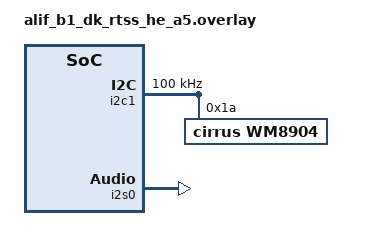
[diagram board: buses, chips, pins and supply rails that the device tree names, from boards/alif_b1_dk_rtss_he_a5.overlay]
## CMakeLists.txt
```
# Copyright Alif Semiconductor - All Rights Reserved.
# Use, distribution and modification of this code is permitted under the
# terms stated in the Alif Semiconductor Software License Agreement
#
# You should have received a copy of the Alif Semiconductor Software
# License Agreement with this file. If not, please write to:
# contact@alifsemi.com, or visit: https://alifsemi.com/license

cmake_minimum_required(VERSION 3.20.0)
find_package(Zephyr REQUIRED HINTS $ENV{ZEPHYR_BASE})
project(le_audio_broadcast_sink)

target_sources(app PRIVATE
    src/main.c
    src/broadcast_sink.c
    src/broadcast_source.c
    src/audio_datapath.c
    src/mode_switch_service.c
)
```

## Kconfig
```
# Copyright Alif Semiconductor - All Rights Reserved.
# Use, distribution and modification of this code is permitted under the
# terms stated in the Alif Semiconductor Software License Agreement
#
# You should have received a copy of the Alif Semiconductor Software
# License Agreement with this file. If not, please write to:
# contact@alifsemi.com, or visit: https://alifsemi.com/license

menu "Alif Bluetooth LE Audio Broadcast Sink/Source"

config BLE_DEVICE_NAME
	string "BLE device name for GATT service"
	default "ALIF_MODE_SWITCH"
	help
	  Device name for the connectable GATT service (mode switching)

config BROADCAST_NAME
	string "LE audio broadcast name"
	default "ALIF_SOURCE"
	help
	  Broadcast name to connect to (sink) or advertise as (source)

config LE_AUDIO_PRESENTATION_DELAY_MS
	int "Presentation delay in ms"
	default 40
	range 0 1000
	help
	  LE audio presentation delay in ms. For the audio source use-case, this is defined as the
	  time in ms from the start of recording an audio frame, to the SDU reference anchor point
	  at which the SDU containing the same audio frame is sent over BLE.

config APP_PRINT_STATS
	bool "Print application statistics"
	default n
	help
	  Enable printing of application statistics and debug information

config APP_PRINT_STATS_INTERVAL
	int "Statistics printing interval"
	default 1024
	depends on APP_PRINT_STATS
	help
	  Interval for printing statistics (every N frames)

choice
	prompt "Choose way to determine left/right audio channels"
	default AUDIO_LOCATION_USE_GAF

	config AUDIO_LOCATION_USE_GAF
		bool "Use GAF audio location sent by audio source"
	config AUDIO_LOCATION_IMPLICIT
		bool "Assume left channel is first stream, and right channel is second"

endchoice

menu "Logging"

module = MAIN
module-str = main
source "subsys/logging/Kconfig.template.log_config"

module = BROADCAST_SINK
module-str = broadcast_sink
source "subsys/logging/Kconfig.template.log_config"

module = MODE_SWITCH_SERVICE
module-str = mode_switch_service
source "subsys/logging/Kconfig.template.log_config"

module = BROADCAST_SOURCE
module-str = broadcast_source
source "subsys/logging/Kconfig.template.log_config"

endmenu # "Logging"

endmenu # "Alif Bluetooth LE Audio Broadcast Sink/Source"

source "Kconfig.zephyr"
```

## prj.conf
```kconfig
# Copyright Alif Semiconductor - All Rights Reserved.
# Use, distribution and modification of this code is permitted under the
# terms stated in the Alif Semiconductor Software License Agreement
#
# You should have received a copy of the Alif Semiconductor Software
# License Agreement with this file. If not, please write to:
# contact@alifsemi.com, or visit: https://alifsemi.com/license

CONFIG_BT=y
CONFIG_BT_CUSTOM=y
CONFIG_ALIF_ROM_LC3_CODEC=y
CONFIG_ALIF_BLE_AUDIO=y

# Device names
CONFIG_BLE_DEVICE_NAME="ALIF_MODE_SWITCH"
CONFIG_BROADCAST_NAME="ALIF_SOURCE"

CONFIG_LOG=y

CONFIG_PRESENTATION_COMPENSATION_DIRECTION_SINK=y
CONFIG_PRESENTATION_COMPENSATION_DIRECTION_SOURCE=y
CONFIG_PRESENTATION_COMPENSATION_CORRECTION_FACTOR=2

CONFIG_AUDIO=y
CONFIG_AUDIO_CODEC=y
CONFIG_AUDIO_CODEC_SHELL=y
CONFIG_SHELL=y

# This is specific to whichever clock you use. Currently presentation layer is
# commented out so this does nothing
CONFIG_AUDIO_CLOCK_DIVIDER=1

# Should be replaced by TRNG when support is available
CONFIG_TEST_RANDOM_GENERATOR=y

# malloc support is required, simplest way is using newlib although it would also be possible to
# configure heap for picolibc
CONFIG_NEWLIB_LIBC=y

# Driver support for audio
CONFIG_I2S=y
CONFIG_I2S_SYNC_BUFFER_FORMAT_SEQUENTIAL=n
CONFIG_DMA=y

# Determine left and right channels by index, not GAF
CONFIG_AUDIO_LOCATION_IMPLICIT=y

# Audio codec is WM8904, connected via I2C.
CONFIG_I2C=y
CONFIG_WM8904=y
CONFIG_I2C_INIT_PRIORITY=50
CONFIG_WM8904_INIT_PRIORITY=99

# For MRAM(XIP) builds with LLVM exception tables cause linker errors as part of the code is placed to TCM
CONFIG_EXCEPTIONS=n
```

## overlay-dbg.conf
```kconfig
# Copyright Alif Semiconductor - All Rights Reserved.
# Use, distribution and modification of this code is permitted under the
# terms stated in the Alif Semiconductor Software License Agreement
#
# You should have received a copy of the Alif Semiconductor Software
# License Agreement with this file. If not, please write to:
# contact@alifsemi.com, or visit: https://alifsemi.com/license

CONFIG_NO_OPTIMIZATIONS=y

# Debug
CONFIG_LOG=y
CONFIG_USE_SEGGER_RTT=y
CONFIG_RTT_CONSOLE=y

CONFIG_MAIN_LOG_LEVEL_DBG=y
CONFIG_BROADCAST_SINK_LOG_LEVEL_DBG=y
CONFIG_BLE_AUDIO_LOG_LEVEL_DBG=y
CONFIG_PRESENTATION_COMPENSATION_PRINT_STATS=y
CONFIG_LOG_BUFFER_SIZE=4096
CONFIG_LOG_DEFAULT_LEVEL=3

## Debugging configuration
CONFIG_THREAD_NAME=y
CONFIG_THREAD_ANALYZER=y
CONFIG_THREAD_ANALYZER_AUTO=y
CONFIG_THREAD_ANALYZER_RUN_UNLOCKED=y
CONFIG_THREAD_ANALYZER_USE_PRINTK=y
#CONFIG_THREAD_ANALYZER_AUTO_STACK_SIZE=6044

## Add asserts
CONFIG_ASSERT=y
#CONFIG_ASSERT_VERBOSE=y
#CONFIG_ASSERT_NO_COND_INFO=n
#CONFIG_ASSERT_NO_MSG_INFO=n

CONFIG_STACK_SENTINEL=y

#CONFIG_LOG_MODE_IMMEDIATE=y
CONFIG_LOG_MODE_MINIMAL=y
```

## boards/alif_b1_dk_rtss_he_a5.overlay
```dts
/* Copyright Alif Semiconductor - All Rights Reserved.
 * Use, distribution and modification of this code is permitted under the
 * terms stated in the Alif Semiconductor Software License Agreement
 *
 * You should have received a copy of the Alif Semiconductor Software
 * License Agreement with this file. If not, please write to:
 * contact@alifsemi.com, or visit: https://alifsemi.com/license
 *
 */

#include <dt-bindings/pinctrl/balletto-pinctrl.h>
#include <dt-bindings/i2c/i2c.h>
#include <dt-bindings/gpio/gpio.h>

#define I2S0_IRQ_NUM  141
#define I2S0_IRQ_PRIO 3

#define I2S0_DMA_RX_CH  2
#define I2S0_DMA_RX_REQ 24
#define I2S0_DMA_TX_CH  3
#define I2S0_DMA_TX_REQ 28

#define AUDIO_DMA_ENABLED 1

/ {
	aliases {
		audio-codec = &wm8904;
		i2s-bus = &i2s0;
	};
};

&dma2 {
	status = "okay";
	dma-channels = <8>;
	interrupts = <0 3>, <1 3>, <2 3>, <3 3>, <4 3>, <5 3>,
		     <6 3>, <7 3>, <32 3>;
	interrupt-names = "channel0", "channel1",
			  "channel2", "channel3",
			  "channel4", "channel5",
			  "channel6", "channel7",
			  "abort";
};

&i2c1 {
	clock-frequency = <I2C_BITRATE_STANDARD>;
	status = "okay";

	wm8904: wm8904@1a {
		compatible = "cirrus,wm8904";
		reg = <0x1a>;
		status = "okay";
	};
};

&i2s0 {
	/delete-property/ clock-frequency;
	/delete-property/ driver_instance;
	compatible = "alif,i2s-sync";
	interrupts = <I2S0_IRQ_NUM I2S0_IRQ_PRIO>;
	bit-depth = <16>;
	sample-rate = <48000>;
	status = "okay";
#if AUDIO_DMA_ENABLED
	dmas = <&dma2 I2S0_DMA_RX_CH I2S0_DMA_RX_REQ>,
	       <&dma2 I2S0_DMA_TX_CH I2S0_DMA_TX_REQ>;
	dma-names = "rxdma", "txdma";
#endif
};

&pinctrl_i2c1 {
	group0 {
		pinmux = <PIN_P7_3__I2C1_SCL_C>,
			 <PIN_P7_2__I2C1_SDA_C>;
	};
};

&pinctrl_i2s0 {
	group0 {
		pinmux = <PIN_P2_4__I2S0_SDI_B>,
			 <PIN_P2_5__I2S0_SDO_B>,
			 <PIN_P1_7__I2S0_WS_A>,
			 <PIN_P1_6__I2S0_SCLK_A>;
	};
};

/* Disable unnecessary nodes */
&i2s1 {
	status = "disabled";
};

&i2s2 {
	status = "disabled";
};

&uart_ahi {
	status = "disabled";
};
```

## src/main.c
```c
/* Copyright Alif Semiconductor - All Rights Reserved.
 * Use, distribution and modification of this code is permitted under the
 * terms stated in the Alif Semiconductor Software License Agreement
 *
 * You should have received a copy of the Alif Semiconductor Software
 * License Agreement with this file. If not, please write to:
 * contact@alifsemi.com, or visit: https://alifsemi.com/license
 */

#include <zephyr/kernel.h>
#include <zephyr/logging/log.h>
#include <zephyr/sys/__assert.h>
#include "alif_ble.h"
#include "gapm.h"
#include "gap_le.h"
#include "gapc_le.h"
#include "gapc_sec.h"
#include "gapm_le.h"
#include "gapm_le_adv.h"
#include "co_buf.h"
#include "broadcast_sink.h"
#include "broadcast_source.h"
#include "mode_switch_service.h"

LOG_MODULE_REGISTER(main, CONFIG_MAIN_LOG_LEVEL);

/* Semaphores definition */
K_SEM_DEFINE(init_sem, 0, 1);

/* Store advertising activity index for re-starting after disconnection */
static uint8_t adv_actv_idx;

/* Connection status */
static uint8_t conn_status; /* 0 = disconnected, 1 = connected */

/* Device name - use configurable name */
#define DEVICE_NAME CONFIG_BLE_DEVICE_NAME

/**
 * Bluetooth stack configuration - Combined role: Observer + Peripheral
 */
static const gapm_config_t gapm_cfg = {
	.role = GAP_ROLE_LE_OBSERVER | GAP_ROLE_LE_PERIPHERAL,
	.pairing_mode = GAPM_PAIRING_DISABLE,
	.privacy_cfg = 0,
	.renew_dur = 1500,
	.private_identity.addr = {0, 0, 0, 0, 0, 0},
	.irk.key = {0, 0, 0, 0, 0, 0, 0, 0, 0, 0, 0, 0, 0, 0, 0, 0},
	.gap_start_hdl = 0,
	.gatt_start_hdl = 0,
	.att_cfg = 0,
	.sugg_max_tx_octets = GAP_LE_MAX_OCTETS,
	.sugg_max_tx_time = GAP_LE_MIN_TIME,
	.tx_pref_phy = GAP_PHY_ANY,
	.rx_pref_phy = GAP_PHY_ANY,
	.tx_path_comp = 0,
	.rx_path_comp = 0,
	.class_of_device = 0,  /* BT Classic only */
	.dflt_link_policy = 0, /* BT Classic only */
};

static uint16_t start_le_adv(uint8_t actv_idx)
{
	gapm_le_adv_param_t adv_params = {
		.duration = 0, /* Advertise indefinitely */
	};

	uint16_t err = gapm_le_start_adv(actv_idx, &adv_params);

	if (err) {
		LOG_ERR("Failed to start LE advertising with error %u", err);
	}

	return err;
}

/**
 * Bluetooth GAPM callbacks
 */
static void on_le_connection_req(uint8_t conidx, uint32_t metainfo, uint8_t actv_idx, uint8_t role,
				 const gap_bdaddr_t *p_peer_addr,
				 const gapc_le_con_param_t *p_con_params, uint8_t clk_accuracy)
{
	LOG_INF("Connection request on index %u", conidx);
	gapc_le_connection_cfm(conidx, 0, NULL);

	LOG_DBG("Connection parameters: interval %u, latency %u, supervision timeout %u",
		p_con_params->interval, p_con_params->latency, p_con_params->sup_to);

	LOG_HEXDUMP_DBG(p_peer_addr->addr, GAP_BD_ADDR_LEN, "Peer BD address");

	conn_status = 1;
	LOG_INF("Device connected - mode switch service available");
}

static void on_key_received(uint8_t conidx, uint32_t metainfo, const gapc_pairing_keys_t *p_keys)
{
	LOG_WRN("Unexpected key received key on conidx %u", conidx);
}

static void on_disconnection(uint8_t conidx, uint32_t metainfo, uint16_t reason)
{
	LOG_INF("Connection index %u disconnected for reason %u", conidx, reason);

	conn_status = 0;
	uint16_t err = start_le_adv(adv_actv_idx);

	if (err) {
		LOG_ERR("Error restarting advertising: %u", err);
	} else {
		LOG_DBG("Restarting advertising");
	}
}

static void on_name_get(uint8_t conidx, uint32_t metainfo, uint16_t token, uint16_t offset,
			uint16_t max_len)
{
	const size_t device_name_len = sizeof(DEVICE_NAME) - 1;
	const size_t short_len = (device_name_len > max_len ? max_len : device_name_len);

	gapc_le_get_name_cfm(conidx, token, GAP_ERR_NO_ERROR, device_name_len, short_len,
			     (const uint8_t *)DEVICE_NAME);
}

static void on_appearance_get(uint8_t conidx, uint32_t metainfo, uint16_t token)
{
	/* Send 'unknown' appearance */
	gapc_le_get_appearance_cfm(conidx, token, GAP_ERR_NO_ERROR, 0);
}

static const gapc_connection_req_cb_t gapc_con_cbs = {
	.le_connection_req = on_le_connection_req,
};

static const gapc_security_cb_t gapc_sec_cbs = {
	.key_received = on_key_received,
	/* All other callbacks in this struct are optional */
};

static const gapc_connection_info_cb_t gapc_con_inf_cbs = {
	.disconnected = on_disconnection,
	.name_get = on_name_get,
	.appearance_get = on_appearance_get,
	/* Other callbacks in this struct are optional */
};

/* All callbacks in this struct are optional */
static const gapc_le_config_cb_t gapc_le_cfg_cbs;

#if !CONFIG_ALIF_BLE_ROM_IMAGE_V1_0 /* ROM version > 1.0 */
static void on_gapm_err(uint32_t metainfo, uint8_t code)
{
	LOG_ERR("gapm error %d", code);
}

static const gapm_cb_t gapm_err_cbs = {
	.cb_hw_error = on_gapm_err,
};

static const gapm_callbacks_t gapm_cbs = {
	.p_con_req_cbs = &gapc_con_cbs,
	.p_sec_cbs = &gapc_sec_cbs,
	.p_info_cbs = &gapc_con_inf_cbs,
	.p_le_config_cbs = &gapc_le_cfg_cbs,
	.p_bt_config_cbs = NULL, /* BT classic so not required */
	.p_gapm_cbs = &gapm_err_cbs,
};
#else /* ROM version 1.0 */
static void on_gapm_err(enum co_error err)
{
	LOG_ERR("gapm error %d", err);
}

static const gapm_err_info_config_cb_t gapm_err_cbs = {
	.ctrl_hw_error = on_gapm_err,
};

static const gapm_callbacks_t gapm_cbs = {
	.p_con_req_cbs = &gapc_con_cbs,
	.p_sec_cbs = &gapc_sec_cbs,
	.p_info_cbs = &gapc_con_inf_cbs,
	.p_le_config_cbs = &gapc_le_cfg_cbs,
	.p_bt_config_cbs = NULL, /* BT classic so not required */
	.p_err_info_config_cbs = &gapm_err_cbs,
};
#endif

static uint16_t set_advertising_data(uint8_t actv_idx)
{
	const size_t device_name_len = strlen(DEVICE_NAME);
	const uint16_t adv_len = device_name_len + 2;

	co_buf_t *p_buf;
	uint16_t err = co_buf_alloc(&p_buf, 0, adv_len, 0);

	__ASSERT(err == 0, "Buffer allocation failed");

	uint8_t *p_data = co_buf_data(p_buf);

	p_data[0] = adv_len - 1;
	p_data[1] = 0x09; /* Complete local name */
	memcpy(p_data + 2, DEVICE_NAME, device_name_len);

	err = gapm_le_set_adv_data(actv_idx, p_buf);
	co_buf_release(p_buf); /* Release ownership of buffer so stack can free it when done */
	if (err) {
		LOG_ERR("Failed to set advertising data with error %u", err);
	}

	return err;
}

static uint16_t set_scan_data(uint8_t actv_idx)
{
	/* We must set scan response data, even if it is empty */
	const uint16_t scan_len = 0;

	co_buf_t *p_buf;
	uint16_t err = co_buf_alloc(&p_buf, 0, scan_len, 0);

	__ASSERT(err == 0, "Buffer allocation failed");

	err = gapm_le_set_scan_response_data(actv_idx, p_buf);
	co_buf_release(p_buf); /* Release ownership of buffer so stack can free it when done */
	if (err) {
		LOG_ERR("Failed to set scan data with error %u", err);
	}

	return err;
}

/**
 * Advertising callbacks
 */
static void on_adv_actv_stopped(uint32_t metainfo, uint8_t actv_idx, uint16_t reason)
{
	LOG_DBG("Advertising activity index %u stopped for reason %u", actv_idx, reason);
}

static void on_adv_actv_proc_cmp(uint32_t metainfo, uint8_t proc_id, uint8_t actv_idx,
				 uint16_t status)
{
	if (status) {
		LOG_ERR("Advertising activity process completed with error %u", status);
		return;
	}

	switch (proc_id) {
	case GAPM_ACTV_CREATE_LE_ADV:
		LOG_DBG("Advertising activity is created");
		adv_actv_idx = actv_idx;
		set_advertising_data(actv_idx);
		break;

	case GAPM_ACTV_SET_ADV_DATA:
		LOG_DBG("Advertising data is set");
		set_scan_data(actv_idx);
		break;

	case GAPM_ACTV_SET_SCAN_RSP_DATA:
		LOG_DBG("Scan data is set");
		start_le_adv(actv_idx);
		break;

	case GAPM_ACTV_START:
		k_sem_give(&init_sem);
		break;

	default:
		LOG_WRN("Unexpected GAPM activity complete, proc_id %u", proc_id);
		break;
	}
}

static void on_adv_created(uint32_t metainfo, uint8_t actv_idx, int8_t tx_pwr)
{
	LOG_DBG("Advertising activity created, index %u, selected tx power %d", actv_idx, tx_pwr);
}

static const gapm_le_adv_cb_actv_t le_adv_cbs = {
	.hdr.actv.stopped = on_adv_actv_stopped,
	.hdr.actv.proc_cmp = on_adv_actv_proc_cmp,
	.created = on_adv_created,
};

static uint16_t create_advertising(void)
{
	uint16_t err;

	gapm_le_adv_create_param_t adv_create_params = {
		.prop = GAPM_ADV_PROP_UNDIR_CONN_MASK,
		.disc_mode = GAPM_ADV_MODE_GEN_DISC,
#if !CONFIG_ALIF_BLE_ROM_IMAGE_V1_0 /* ROM version > 1.0 */
		.tx_pwr = 0,
#else
		.max_tx_pwr = 0,
#endif /* !CONFIG_ALIF_BLE_ROM_IMAGE_V1_0 */
		.filter_pol = GAPM_ADV_ALLOW_SCAN_ANY_CON_ANY,
		.prim_cfg = {
				.adv_intv_min = 160,
				.adv_intv_max = 800,
				.ch_map = ADV_ALL_CHNLS_EN,
				.phy = GAPM_PHY_TYPE_LE_1M,
			},
	};

	err = gapm_le_create_adv_legacy(0, GAPM_STATIC_ADDR, &adv_create_params, &le_adv_cbs);
	if (err) {
		LOG_ERR("Error %u creating advertising activity", err);
	}

	return err;
}

/* Add service to the stack */
static void server_configure(void)
{
	uint16_t err;

	/* Configure BAP BC sink modules once during initialization */
	err = broadcast_sink_configure();
	if (err) {
		LOG_ERR("Error %u configuring broadcast sink modules", err);
	} else {
		LOG_INF("BAP BC sink modules configured successfully");
	}

	/* Configure BAP BC source modules once during initialization */
	err = broadcast_source_configure();
	if (err) {
		LOG_ERR("Error %u configuring broadcast source modules", err);
	} else {
		LOG_INF("BAP BC source modules configured successfully");
	}

	/* Start the mode switch service */
	err = mode_switch_service_start();
	if (err) {
		LOG_ERR("Error %u starting mode switch service", err);
	}

	LOG_INF("Mode switch service started with BAP BC modules configured");
}

void on_gapm_process_complete(uint32_t metainfo, uint16_t status)
{
	if (status) {
		LOG_ERR("gapm process completed with error %u", status);
		return;
	}

	LOG_INF("gapm process completed successfully");

	server_configure();

	create_advertising();
}

int main(void)
{
	int ret = alif_ble_enable(NULL);

	if (ret) {
		LOG_ERR("Failed to enable bluetooth, err %d", ret);
		return ret;
	}

	LOG_INF("BLE enabled");

	uint16_t err = gapm_configure(0, &gapm_cfg, &gapm_cbs, on_gapm_process_complete);

	if (err != 0) {
		LOG_ERR("gapm_configure error %u", err);
		return -1;
	}

	k_sem_take(&init_sem, K_FOREVER);

	LOG_INF("Connect to the '%s' to access the mode switch service", DEVICE_NAME);

	for (;;) {
		k_sleep(K_SECONDS(5));
	}

	return 0;
}
```

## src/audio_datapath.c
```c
/* Copyright Alif Semiconductor - All Rights Reserved.
 * Use, distribution and modification of this code is permitted under the
 * terms stated in the Alif Semiconductor Software License Agreement
 *
 * You should have received a copy of the Alif Semiconductor Software
 * License Agreement with this file. If not, please write to:
 * contact@alifsemi.com, or visit: https://alifsemi.com/license
 */

#include <zephyr/kernel.h>
#include <zephyr/device.h>
#include <zephyr/init.h>
#include <zephyr/logging/log.h>
#include <zephyr/drivers/i2s.h>
#include <zephyr/audio/codec.h>
#include <zephyr/random/random.h>
#include "bluetooth/le_audio/audio_decoder.h"
#include "bluetooth/le_audio/audio_encoder.h"
#include "bluetooth/le_audio/audio_source_i2s.h"
#include "bluetooth/le_audio/audio_utils.h"
#include "bluetooth/le_audio/presentation_compensation.h"
#include "audio_datapath.h"

LOG_MODULE_REGISTER(audio_datapath, CONFIG_BLE_AUDIO_LOG_LEVEL);

#define CODEC_NODE DT_ALIAS(audio_codec)
#define I2S_NODE   DT_ALIAS(i2s_bus)

struct audio_datapath {
	struct audio_decoder *decoder;
	struct audio_encoder *encoder;
	size_t octets_per_frame;
};

static struct audio_datapath env;

static int broadcast_audio_path_init(void)
{
	int ret;

	/* Check all devices are ready */
	ret = device_is_ready(DEVICE_DT_GET(I2S_NODE));

	if (!ret) {
		LOG_ERR("I2S is not ready");
		return -1;
	}

	ret = device_is_ready(DEVICE_DT_GET(CODEC_NODE));

	if (!ret) {
		LOG_ERR("Audio codec is not ready");
		return -1;
	}

	return 0;
}

SYS_INIT(broadcast_audio_path_init, APPLICATION, 0);

#if CONFIG_APP_PRINT_STATS
static void print_sdus(void *context, uint32_t timestamp, uint16_t sdu_seq)
{
	static uint16_t last_sdu;

	if (last_sdu && (last_sdu + 1 < sdu_seq)) {
		LOG_INF("SDU sequence number jumps, last: %u, now: %u", last_sdu, sdu_seq);
	}
	last_sdu = sdu_seq;

	if (0 == (sdu_seq % 128)) {
		LOG_INF("SDU sequence number %u", sdu_seq);
	}
}
#endif

#ifdef CONFIG_PRESENTATION_COMPENSATION_DEBUG
void on_timing_debug_info_ready(struct presentation_comp_debug_data *dbg_data)
{
	LOG_INF("Presentation compensation debug data is ready");
}
#endif

int audio_datapath_create_sink(struct audio_datapath_config const *const cfg)
{
	int ret;

	if (!cfg) {
		__ASSERT(false, "Datapath configuration missing");
		return -EINVAL;
	}

	if (env.decoder) {
		return -EALREADY;
	}

	env.octets_per_frame = cfg->octets_per_frame;

	/* Configure codec */
	struct audio_codec_cfg codec_cfg = {
		.dai_type = AUDIO_DAI_TYPE_I2S,
		.dai_cfg = {
			.i2s = {
				.word_size = AUDIO_PCM_WIDTH_16_BITS,
				.channels = 2,
				.format = I2S_FMT_DATA_FORMAT_I2S,
				.options = 0,
				.frame_clk_freq = cfg->sampling_rate_hz,
				.mem_slab = NULL,
				.block_size = 0,
				.timeout = 0,
			},
		},
	};

	ret = audio_codec_configure(DEVICE_DT_GET(CODEC_NODE), &codec_cfg);

	if (ret) {
		LOG_ERR("Failed to configure sink codec. err %d", ret);
		return ret;
	}
	audio_codec_start_output(DEVICE_DT_GET(CODEC_NODE));

	struct audio_decoder_params const dec_params = {
		.i2s_dev = cfg->i2s_dev,
		.frame_duration_us = cfg->frame_duration_is_10ms ? 10000 : 7500,
		.sampling_rate_hz = cfg->sampling_rate_hz,
		.pres_delay_us = cfg->pres_delay_us,
	};

	env.decoder = audio_decoder_create(&dec_params);
	if (env.decoder == NULL) {
		LOG_ERR("Failed to create audio decoder");
		return -ENOMEM;
	}

	/* TODO: Change MCLK to use alif clock control */

	/* ret = presentation_compensation_configure(cfg->mclk_dev, pres_delay_us);
	 * if (ret != 0) {
	 *	LOG_ERR("Failed to configure presentation compensation module, err %d", ret);
	 *	return ret;
	 * }
	 */

	/* Add presentation compensation callback to notify audio sink */
	/* ret = presentation_compensation_register_cb(audio_sink_i2s_apply_timing_correction);
	 * if (ret != 0) {
	 *	LOG_ERR("Failed to register presentation compensation callback, err %d", ret);
	 *	return ret;
	 * }
	 */

#ifdef CONFIG_PRESENTATION_COMPENSATION_DEBUG
	/* ret = presentation_compensation_register_debug_cb(on_timing_debug_info_ready);
	 * if (ret != 0) {
	 *	LOG_ERR("Failed to register presentation compensation debug callback, err %d", ret);
	 *	return ret;
	 * }
	 */
#endif

#if CONFIG_APP_PRINT_STATS
	ret = audio_decoder_register_cb(env.decoder, print_sdus, NULL);

	if (ret != 0) {
		LOG_ERR("Failed to register decoder cb, err %d", ret);
		return ret;
	}
#endif

	LOG_INF("Created audio datapath");

	return 0;
}

int audio_datapath_channel_create_sink(size_t const octets_per_frame, uint8_t const ch_index)
{
	int ret = audio_decoder_add_channel(env.decoder, octets_per_frame, ch_index);

	if (ret) {
		LOG_ERR("Failed to create channel %u, err %d", ch_index, ret);
		return ret;
	}

	return 0;
}

int audio_datapath_channel_start_sink(uint8_t const ch_index)
{
	int ret = audio_decoder_start_channel(env.decoder, ch_index);

	if (ret) {
		LOG_ERR("Failed to start channel %u, err %d", ch_index, ret);
		return ret;
	}

	return 0;
}

int audio_datapath_start_sink(void)
{
	for (int iter = 0; iter < CONFIG_ALIF_BLE_AUDIO_NMB_CHANNELS; iter++) {
		audio_datapath_channel_create_sink(env.octets_per_frame, iter);
	}

	for (int iter = 0; iter < CONFIG_ALIF_BLE_AUDIO_NMB_CHANNELS; iter++) {
		audio_datapath_channel_start_sink(iter);
	}

	LOG_INF("Audio datapath started");

	return 0;
}

int audio_datapath_cleanup_sink(void)
{
	audio_decoder_delete(env.decoder);
	env.decoder = NULL;

	/* Stop codec output */
	audio_codec_stop_output(DEVICE_DT_GET(CODEC_NODE));

	LOG_INF("Audio decoder deleted");

	return 0;
}

#if CONFIG_APP_PRINT_STATS
static void on_frame_complete(void *param, uint32_t timestamp, uint16_t sdu_seq)
{
	if ((sdu_seq % CONFIG_APP_PRINT_STATS_INTERVAL) == 0) {
		LOG_INF("SDU sequence number: %u", sdu_seq);
	}
}
#endif

int audio_datapath_create_source(struct audio_datapath_config const *const cfg)
{
	int ret;

	if (!cfg) {
		__ASSERT(false, "Datapath configuration missing");
		return -EINVAL;
	}

	if (env.encoder) {
		return -EALREADY;
	}

	/* Configure codec */
	struct audio_codec_cfg codec_cfg = {
		.dai_type = AUDIO_DAI_TYPE_I2S,
		.dai_cfg = {
			.i2s = {
				.word_size = AUDIO_PCM_WIDTH_16_BITS,
				.channels = 2,
				.format = I2S_FMT_DATA_FORMAT_I2S,
				.options = 0,
				.frame_clk_freq = cfg->sampling_rate_hz,
				.mem_slab = NULL,
				.block_size = 0,
				.timeout = 0,
			},
		},
	};

	ret = audio_codec_configure(DEVICE_DT_GET(CODEC_NODE), &codec_cfg);
	if (ret) {
		LOG_ERR("Failed to configure source codec. err %d", ret);
		return ret;
	}
	audio_codec_start_output(DEVICE_DT_GET(CODEC_NODE));

	struct audio_encoder_params const enc_params = {
		.i2s_dev = cfg->i2s_dev,
		.frame_duration_us = cfg->frame_duration_is_10ms ? 10000 : 7500,
		.sampling_rate_hz = cfg->sampling_rate_hz,
		.audio_buffer_len_us = cfg->pres_delay_us,
	};

	env.encoder = audio_encoder_create(&enc_params);
	if (!env.encoder) {
		LOG_ERR("Failed to create audio encoder");
		return -ENODEV;
	}

#if CONFIG_APP_PRINT_STATS
	int ret = audio_encoder_register_cb(env.encoder, on_frame_complete, NULL);

	if (ret != 0) {
		LOG_ERR("Failed to register encoder cb for stats, err %d", ret);
		return ret;
	}
#endif

	LOG_INF("Source audio datapath initialized");
	return 0;
}

int audio_datapath_channel_create_source(size_t octets_per_frame, uint8_t stream_lid)
{
	if (!env.encoder) {
		return -EINVAL;
	}

	int err = audio_encoder_add_channel(env.encoder, octets_per_frame, stream_lid);

	if (err) {
		LOG_ERR("Failed to add stream channel %u. err %d", stream_lid, err);
		return err;
	}

	return 0;
}

int audio_datapath_channel_start_source(uint8_t stream_lid)
{
	if (!env.encoder) {
		return -EINVAL;
	}

	int retval = audio_encoder_start_channel(env.encoder, stream_lid);

	if (retval != 0) {
		LOG_ERR("Failed to start channel %d, err %d", stream_lid, retval);
		__ASSERT(false, "Failed to start channel");
	}

	LOG_INF("Source audio datapath started for stream %d", stream_lid);
	return 0;
}

int audio_datapath_cleanup_source(void)
{
	if (env.encoder) {
		audio_encoder_delete(env.encoder);
		env.encoder = NULL;

		audio_codec_stop_output(DEVICE_DT_GET(CODEC_NODE));

		LOG_INF("Audio encoder deleted");
	}

	return 0;
}
```

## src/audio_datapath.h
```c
/* Copyright Alif Semiconductor - All Rights Reserved.
 * Use, distribution and modification of this code is permitted under the
 * terms stated in the Alif Semiconductor Software License Agreement
 *
 * You should have received a copy of the Alif Semiconductor Software
 * License Agreement with this file. If not, please write to:
 * contact@alifsemi.com, or visit: https://alifsemi.com/license
 */

#ifndef _AUDIO_DATAPATH_H
#define _AUDIO_DATAPATH_H

#include <zephyr/types.h>
#include <zephyr/device.h>
#include <stdbool.h>

struct audio_datapath_config {
	const struct device *i2s_dev;
	/* const struct device *mclk_dev; */
	uint32_t pres_delay_us;
	uint32_t sampling_rate_hz;
	uint16_t octets_per_frame;
	bool frame_duration_is_10ms;
};

/**
 * @brief Create the audio datapath for sink
 *
 * Creates and configures all of the required elements to stream audio from Bluetooth LE to I2S.
 * This includes configuring and starting the codec.
 *
 * @param cfg Desired configuration of the audio datapath
 *
 * @retval 0 if successful
 * @retval Negative error code on failure
 */
int audio_datapath_create_sink(struct audio_datapath_config const *cfg);

/**
 * @brief Create a channel for the audio datapath
 *
 * Creates a channel for the audio decoder.
 *
 * @param octets_per_frame Number of octets per frame
 * @param ch_index Channel index
 *
 * @retval 0 if successful
 * @retval Negative error code on failure
 */
int audio_datapath_channel_create_sink(size_t const octets_per_frame, uint8_t const ch_index);

/**
 * @brief Start a channel for the audio datapath
 *
 * Starts a channel for the audio decoder.
 *
 * @param ch_index Channel index
 *
 * @retval 0 if successful
 * @retval Negative error code on failure
 */
int audio_datapath_channel_start_sink(uint8_t const ch_index);

/**
 * @brief Start the audio datapath
 *
 * Starts reception of the first SDU over the ISO datapath, which when received starts off the
 * operation of the rest of the datapath.
 *
 * @retval 0 if successful
 * @retval Negative error code on failure
 */
int audio_datapath_start_sink(void);

/**
 * @brief Clean up the audio datapath
 *
 * Stops the audio datapath and cleans up all elements created by audio_datapath_create_sink,
 * freeing any allocated memory if necessary. After calling this function, it is possible to create
 * a new audio datapath again using audio_datapath_create_sink.
 *
 * @retval 0 if successful
 * @retval Negative error code on failure
 */
int audio_datapath_cleanup_sink(void);

/**
 * @brief Create the audio datapath for source
 *
 * Creates and configures all of the required elements to stream audio from I2S to Bluetooth LE.
 * This includes configuring and starting the codec input.
 *
 * @param cfg Desired configuration of the audio datapath
 *
 * @retval 0 if successful
 * @retval Negative error code on failure
 */
int audio_datapath_create_source(struct audio_datapath_config const *cfg);

/**
 * @brief Add a channel to the audio encoder
 *
 * Adds a channel to the audio encoder for source streaming.
 *
 * @param octets_per_frame Number of octets per frame
 * @param stream_lid Stream local ID
 *
 * @retval 0 if successful
 * @retval Negative error code on failure
 */
int audio_datapath_channel_create_source(size_t octets_per_frame, uint8_t stream_lid);

/**
 * @brief Start a channel for the audio datapath source
 *
 * Starts a channel for the audio encoder.
 *
 * @param stream_lid Stream local ID
 *
 * @retval 0 if successful
 * @retval Negative error code on failure
 */
int audio_datapath_channel_start_source(uint8_t stream_lid);

/**
 * @brief Clean up the audio datapath for source
 *
 * Stops and cleans up all source audio datapath elements.
 *
 * @retval 0 if successful
 * @retval Negative error code on failure
 */
int audio_datapath_cleanup_source(void);

#endif /* _AUDIO_DATAPATH_H */
```

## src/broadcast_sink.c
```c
/* Copyright Alif Semiconductor - All Rights Reserved.
 * Use, distribution and modification of this code is permitted under the
 * terms stated in the Alif Semiconductor Software License Agreement
 *
 * You should have received a copy of the Alif Semiconductor Software
 * License Agreement with this file. If not, please write to:
 * contact@alifsemi.com, or visit: https://alifsemi.com/license
 */

#include <zephyr/types.h>
#include <zephyr/kernel.h>
#include <zephyr/logging/log.h>
#include <zephyr/init.h>
#include <zephyr/sys/__assert.h>
#include <string.h>

#include "bluetooth/le_audio/audio_utils.h"

#include "bap_bc_sink.h"
#include "bap_bc_scan.h"
#include "audio_datapath.h"
#include "broadcast_sink.h"

LOG_MODULE_REGISTER(broadcast_sink, CONFIG_BROADCAST_SINK_LOG_LEVEL);

static K_SEM_DEFINE(disable_done_sem, 0, 1);
static K_SEM_DEFINE(stop_streams_sem, 0, 32);

#define SYNCHRONISATION_TIMEOUT_MS 2000
#define SYNCHRONISATION_TIMEOUT    (SYNCHRONISATION_TIMEOUT_MS / 10)
#define SCAN_TIMEOUT_MS            1000
#define SCAN_TIMEOUT               (SCAN_TIMEOUT_MS / 10)
#define SINK_TIMEOUT_MS            1000
#define SINK_TIMEOUT               (SINK_TIMEOUT_MS / 10)
#define INVALID_CHANNEL_INDEX      0xFF
#define INVALID_LID			0xFF

#define GAF_LOC_LEFT_OR_CENTRE_MASK                                                                \
	(GAF_LOC_FRONT_LEFT_BIT | GAF_LOC_FRONT_LEFT_BIT | GAF_LOC_BACK_LEFT_BIT |                 \
	 GAF_LOC_FRONT_LEFT_CENTER_BIT | GAF_LOC_BACK_CENTER_BIT | GAF_LOC_SIDE_LEFT_BIT |         \
	 GAF_LOC_TOP_FRONT_LEFT_BIT | GAF_LOC_TOP_FRONT_CENTER_BIT | GAF_LOC_TOP_CENTER_BIT |      \
	 GAF_LOC_TOP_BACK_LEFT_BIT | GAF_LOC_TOP_SIDE_LEFT_BIT | GAF_LOC_TOP_BACK_CENTER_BIT |     \
	 GAF_LOC_BOTTOM_FRONT_CENTER_BIT | GAF_LOC_BOTTOM_FRONT_LEFT_BIT |                         \
	 GAF_LOC_FRONT_LEFT_WIDE_BIT | GAF_LOC_LEFT_SURROUND_BIT)
#define GAF_LOC_RIGHT_MASK                                                                         \
	(GAF_LOC_FRONT_RIGHT_BIT | GAF_LOC_BACK_RIGHT_BIT | GAF_LOC_FRONT_RIGHT_CENTER_BIT |       \
	 GAF_LOC_SIDE_RIGHT_BIT | GAF_LOC_TOP_FRONT_RIGHT_BIT | GAF_LOC_TOP_BACK_RIGHT_BIT |       \
	 GAF_LOC_TOP_SIDE_RIGHT_BIT | GAF_LOC_BOTTOM_FRONT_RIGHT_BIT |                             \
	 GAF_LOC_FRONT_RIGHT_WIDE_BIT)

/* Configuration obtained from advertising reports */
struct broadcast_sink_env {
	/* Details of PA, group etc. to enable */
	bap_bcast_id_t bcast_id;
	uint32_t chosen_streams_bf;
	uint32_t started_streams_bf;
	uint8_t left_channel_pos;
	uint8_t right_channel_pos;
	uint8_t pa_lid;
	uint8_t grp_lid;

	/* Audio datapath configuration */
	struct audio_datapath_config datapath_cfg;
	bool datapath_cfg_valid;
};

#define I2S_NODE   DT_ALIAS(i2s_bus)
#define CODEC_NODE DT_ALIAS(audio_codec)
/* #define MCLK_GEN_NODE DT_ALIAS(mclk_gen) */

BUILD_ASSERT(!DT_PROP(I2S_NODE, mono_mode), "I2S must be configured in stereo mode");

const struct device *i2s_dev = DEVICE_DT_GET(I2S_NODE);
const struct device *codec_dev = DEVICE_DT_GET(CODEC_NODE);
/* const struct device *mclk_gen_dev = DEVICE_DT_GET(MCLK_GEN_NODE); */

static uint8_t expected_streams;
static bool public_broadcast_found;
static struct broadcast_sink_env sink_env;


static void reset_sink_config(void)
{
	memset(&sink_env, 0, sizeof(sink_env));
	sink_env.datapath_cfg_valid = true;
	sink_env.datapath_cfg.i2s_dev = i2s_dev;
	sink_env.right_channel_pos = INVALID_CHANNEL_INDEX;
	sink_env.left_channel_pos  = INVALID_CHANNEL_INDEX;

	/* NEW: these were implicitly 0; make them explicitly invalid */
	sink_env.pa_lid  = INVALID_LID;
	sink_env.grp_lid = INVALID_LID;
}
static int start_scanning(void)
{
	LOG_INF("Start scanning for broadcast sources");

	/* Zero timeout value causes it to scan until explicitly stopped */
	uint16_t err = bap_bc_scan_start(0);

	if (err != GAP_ERR_NO_ERROR) {
		LOG_ERR("Failed to start bap_bc_scan, err %u", err);
		return -ENODEV;
	}

	reset_sink_config();
	public_broadcast_found = false;

	return 0;
}

static int sink_enable(void)
{
	if (!sink_env.datapath_cfg_valid) {
		LOG_ERR("Cannot enable sink for invalid config");
		return -1;
	}

	if (sink_env.left_channel_pos != INVALID_CHANNEL_INDEX) {
		sink_env.chosen_streams_bf |= (1U << (sink_env.left_channel_pos - 1));
	}

	if (sink_env.right_channel_pos != INVALID_CHANNEL_INDEX) {
		sink_env.chosen_streams_bf |= (1U << (sink_env.right_channel_pos - 1));
	}

	LOG_INF("Chosen streams bitfield: %x", sink_env.chosen_streams_bf);

	uint16_t err =
		bap_bc_sink_enable(sink_env.pa_lid, &sink_env.bcast_id, sink_env.chosen_streams_bf,
					NULL, 0, SINK_TIMEOUT, &sink_env.grp_lid);

	if (err) {
		LOG_ERR("Failed to enable bap_bc_sink, err %u", err);
		return -1;
	}

	return 0;
}

static void terminate_pa_sync(void)
{
	uint16_t err = bap_bc_scan_pa_terminate(sink_env.pa_lid);

	if (err) {
		LOG_ERR("Failed to terminate sync with PA, err %u", err);
	}
}

static int start_streaming(void)
{
	gaf_codec_id_t codec_id = GAF_CODEC_ID_LC3;

	uint16_t err = bap_bc_sink_start_streaming(sink_env.grp_lid, sink_env.left_channel_pos,
							&codec_id, GAPI_DP_ISOOSHM, 0, NULL);

	if (err) {
		LOG_ERR("Failed to start streaming with err %u", err);
		start_scanning();
		return -1;
	}

	if (sink_env.right_channel_pos != INVALID_CHANNEL_INDEX) {
		uint16_t err =
			bap_bc_sink_start_streaming(sink_env.grp_lid, sink_env.right_channel_pos,
							&codec_id, GAPI_DP_ISOOSHM, 0, NULL);

		if (err) {
			LOG_ERR("Failed to start streaming with err %u", err);
			start_scanning();
			return -1;
		}
	}

	return 0;
}

static void on_bap_bc_scan_cmp_evt(uint8_t cmd_type, uint16_t status, uint8_t pa_lid)
{
	switch (cmd_type) {
	case BAP_BC_SCAN_CMD_TYPE_START:
		LOG_INF("Scan start cmd complete, status %u", status);
		break;
	case BAP_BC_SCAN_CMD_TYPE_STOP:
		LOG_INF("Scan stop cmd complete, status %u", status);
		break;
	case BAP_BC_SCAN_CMD_TYPE_PA_SYNCHRONIZE:
		LOG_INF("PA synchronise cmd complete, status %u", status);
		break;
	case BAP_BC_SCAN_CMD_TYPE_PA_TERMINATE:
		LOG_INF("PA terminate cmd complete, status %u", status);
		break;
	default:
		LOG_INF("Unexpected cmd_type %u", cmd_type);
		break;
	}
}

static void on_bap_bc_scan_timeout(void)
{
	LOG_INF("Scan timeout");
}

static void on_bap_bc_scan_report(const bap_adv_id_t *p_adv_id,
			const bap_bcast_id_t *p_bcast_id,
			uint8_t info_bf, const gaf_adv_report_air_info_t *p_air_info,
			uint16_t length, const uint8_t *p_data)
{
	LOG_INF("Got scan report");
	LOG_INF("Public Broadcast Profile %s supported",
		(info_bf & BAP_BC_SCAN_PUBLIC_BROADCAST_SUPPORT_BIT) ? "is" : "is not");
	LOG_INF("Broadcast ID: %02x %02x %02x", p_bcast_id->id[0], p_bcast_id->id[1],
		p_bcast_id->id[2]);
	LOG_INF("Air info: tx_pwr %u, rssi %u", p_air_info->tx_pwr, p_air_info->rssi);
	LOG_HEXDUMP_DBG(p_data, length, "adv data: ");

	/* Store broadcast ID for later */
	memcpy(&sink_env.bcast_id, p_bcast_id, sizeof(bap_bcast_id_t));
}

static void on_bap_bc_scan_public_bcast(const bap_adv_id_t *p_adv_id,
					const bap_bcast_id_t *p_bcast_id, uint8_t pbp_features_bf,
					uint8_t broadcast_name_len, const uint8_t *p_broadcast_name,
					uint8_t metadata_len, const uint8_t *p_metadata)
{
	bool correct_stream = false;

	LOG_INF("Got public broadcast report");
	LOG_INF("PBP features: encrypted: %s, standard quality: %s, high quality: %s",
		(pbp_features_bf & BAP_BC_PBP_FEATURES_ENCRYPTED_BIT) ? "yes" : "no",
		(pbp_features_bf & BAP_BC_PBP_FEATURES_STANDARD_QUALITY_PRESENT_BIT) ? "yes" : "no",
		(pbp_features_bf & BAP_BC_PBP_FEATURES_HIGH_QUALITY_PRESENT_BIT) ? "yes" : "no");
	if (broadcast_name_len < 20) {
		char broadcast_name[20];

		memcpy(broadcast_name, p_broadcast_name, broadcast_name_len);
		broadcast_name[broadcast_name_len] = '\0';
		LOG_INF("Broadcast name %s", broadcast_name);

		correct_stream =
			(0 == memcmp(CONFIG_BROADCAST_NAME, broadcast_name, broadcast_name_len));
	}
	LOG_HEXDUMP_DBG(p_metadata, metadata_len, "metadata: ");

	/* If we found a non-encrypted public broadcast, synchronise to this */
	if (correct_stream && !(pbp_features_bf & BAP_BC_PBP_FEATURES_ENCRYPTED_BIT) &&
			!public_broadcast_found) {
		LOG_INF("Synchronising to public broadcast");
		public_broadcast_found = true;

		uint16_t err = bap_bc_scan_pa_synchronize(p_adv_id, 0,
							BAP_BC_SCAN_REPORT_MASK,
							SYNCHRONISATION_TIMEOUT, SCAN_TIMEOUT,
							&sink_env.pa_lid);

		if (err != GAP_ERR_NO_ERROR) {
			LOG_ERR("Failed to start PA synchronise procedure, err %u", err);
		}
	}
}

static void on_bap_bc_scan_pa_established(uint8_t pa_lid, const bap_adv_id_t *p_adv_id, uint8_t phy,
					  uint16_t interval_frames)
{
	LOG_INF("PA synchronised, pa_lid %u interval %u ms", pa_lid, (interval_frames * 5) / 4);
	sink_env.pa_lid = pa_lid;

	uint16_t err = bap_bc_scan_stop();

	if (err) {
		LOG_INF("Failed to stop scanning, err %u", err);
	}
}

static void on_bap_bc_scan_pa_terminated(uint8_t pa_lid, uint8_t reason)
{
	LOG_INF("PA desynchronised, reason %u", reason);
	sink_env.pa_lid = INVALID_LID;
}

static void on_bap_bc_scan_pa_report(uint8_t pa_lid, const gaf_adv_report_air_info_t *p_air_info,
				     uint16_t length, const uint8_t *p_data)
{
	LOG_INF("PA report");
	LOG_INF("Air info: tx_pwr %u rssi %u", p_air_info->tx_pwr, p_air_info->rssi);
	LOG_HEXDUMP_DBG(p_data, length, "periodic adv data: ");
}

static void on_bap_bc_scan_big_info_report(uint8_t pa_lid, const gapm_le_big_info_t *p_report)
{
	LOG_INF("BIGinfo report");
	LOG_INF("SDU interval %u us, ISO interval %u ms, max_pdu %u max_sdu %u",
		p_report->sdu_interval, p_report->iso_interval, p_report->max_pdu,
		p_report->max_sdu);
	LOG_INF("num_bis %u, NSE %u, BN %u, PTO %u, IRC %u, PHY %u, framing %u, encrypted %u",
		p_report->num_bis, p_report->nse, p_report->bn, p_report->pto, p_report->irc,
		p_report->phy, p_report->framing, p_report->encrypted);
}

static void on_bap_bc_scan_group_report(uint8_t pa_lid, uint8_t nb_subgroups, uint8_t nb_streams,
					uint32_t pres_delay_us)
{
	LOG_INF("Group report: %u subgroups, %u streams, presentation delay %u us", nb_subgroups,
		nb_streams, pres_delay_us);
	expected_streams = nb_streams;

	/* Store presentation delay for later use */
	sink_env.datapath_cfg.pres_delay_us = pres_delay_us;
}

static void on_bap_bc_scan_subgroup_report(uint8_t pa_lid, uint8_t sgrp_id, uint32_t stream_pos_bf,
					   const gaf_codec_id_t *p_codec_id,
					   const bap_cfg_ptr_t *p_cfg,
					   const bap_cfg_metadata_ptr_t *p_metadata)
{
	LOG_INF("Subgroup report");
	LOG_INF("sgrp_id %u, stream_bf %x, codec_id %02x %02x %02x %02x %02x", sgrp_id,
		stream_pos_bf, p_codec_id->codec_id[0], p_codec_id->codec_id[1],
		p_codec_id->codec_id[2], p_codec_id->codec_id[3], p_codec_id->codec_id[4]);
	LOG_INF("BAP cfg: loc_bf %x frame_octet %u sampling_freq %u frame_dur %u "
		"frames_sdu %u",
		p_cfg->param.location_bf, p_cfg->param.frame_octet, p_cfg->param.sampling_freq,
		p_cfg->param.frame_dur, p_cfg->param.frames_sdu);

	/* Validate config is OK and store relevant info for later use */
	if (p_cfg->param.sampling_freq < BAP_SAMPLING_FREQ_MIN ||
			p_cfg->param.sampling_freq > BAP_SAMPLING_FREQ_MAX) {
		LOG_WRN("Invalid sampling frequency %d(bap_sampling_freq)",
			p_cfg->param.sampling_freq);

		sink_env.datapath_cfg_valid = false;
	}

	if (p_cfg->param.frame_dur != BAP_FRAME_DUR_10MS) {
		LOG_WRN("Frame duration is not compatible, need 10 ms");
		sink_env.datapath_cfg_valid = false;
	}

	sink_env.datapath_cfg.octets_per_frame = p_cfg->param.frame_octet;
	sink_env.datapath_cfg.frame_duration_is_10ms = p_cfg->param.frame_dur == BAP_FRAME_DUR_10MS;
	sink_env.datapath_cfg.sampling_rate_hz =
		audio_bap_sampling_freq_to_hz(p_cfg->param.sampling_freq);
}

static void assign_audio_channel(uint8_t stream_count, uint8_t stream_pos, uint16_t loc_bf)
{
#ifdef CONFIG_AUDIO_LOCATION_USE_GAF
	if ((loc_bf & GAF_LOC_LEFT_OR_CENTRE_MASK) &&
	    (sink_env.left_channel_pos == INVALID_CHANNEL_INDEX)) {
#else /* CONFIG_AUDIO_LOCATION_IMPLICIT */
	if (stream_count == 0) {
#endif
		LOG_INF("Stream index %u is left or centre channel", stream_pos);
		sink_env.left_channel_pos = stream_pos;
	}

#ifdef CONFIG_AUDIO_LOCATION_USE_GAF
	if ((loc_bf & GAF_LOC_RIGHT_MASK) &&
	    (sink_env.right_channel_pos == INVALID_CHANNEL_INDEX)) {
#else /* CONFIG_AUDIO_LOCATION_IMPLICIT */
	if (stream_count == 1) {
#endif
		LOG_INF("Stream index %u is right channel", stream_pos);
		sink_env.right_channel_pos = stream_pos;
	}
}

static void on_bap_bc_scan_stream_report(uint8_t pa_lid, uint8_t sgrp_id, uint8_t stream_pos,
					 const gaf_codec_id_t *p_codec_id,
					 const bap_cfg_ptr_t *p_cfg)
{
	static uint8_t stream_report_count;

	LOG_INF("Stream report %u", stream_pos);
	LOG_INF("BAP cfg: loc_bf %x frame_octet %u sampling_freq %u frame_dur %u frames_sdu %u",
		p_cfg->param.location_bf, p_cfg->param.frame_octet, p_cfg->param.sampling_freq,
		p_cfg->param.frame_dur, p_cfg->param.frames_sdu);

	assign_audio_channel(stream_report_count, stream_pos, p_cfg->param.location_bf);

	if (++stream_report_count >= expected_streams) {
		expected_streams = 0;
		stream_report_count = 0;

		LOG_INF("Disabling PA reports");
		uint16_t err = bap_bc_scan_pa_report_ctrl(sink_env.pa_lid, 0);

		if (err) {
			LOG_ERR("Failed to disable PA reports");
		}

		if (sink_env.left_channel_pos == INVALID_CHANNEL_INDEX) {
			LOG_INF("A left or centre channel must be present");
			sink_env.datapath_cfg_valid = false;
		}

		if (sink_env.datapath_cfg_valid) {
			LOG_INF("Compatible audio source found");

			/* Enable BC sink for the compatible source */
			sink_enable();
		} else {
			LOG_INF("Audio source is not compatible");

			/* Restart scanning for another source */
			start_scanning();
		}
	}
}

static void on_bap_bc_sink_cmp_evt(uint8_t cmd_type, uint16_t status, uint8_t grp_lid,
					uint8_t stream_pos)
{
	switch (cmd_type) {
	case BAP_BC_SINK_CMD_TYPE_ENABLE:
		LOG_INF("enable cmd complete, status %u, grp %u, stream %u",
				status, grp_lid, stream_pos);
		break;

	case BAP_BC_SINK_CMD_TYPE_START_STREAMING:
		LOG_INF("start streaming cmd complete, status %u, grp %u, stream %u",
				status, grp_lid, stream_pos);
		sink_env.started_streams_bf |= (1U << (stream_pos - 1));
		if (sink_env.started_streams_bf == sink_env.chosen_streams_bf) {
			int ret = audio_datapath_create_sink(&sink_env.datapath_cfg);

			if (ret) {
				audio_datapath_cleanup_sink();
				LOG_ERR("Failed to create audio datapath");
				start_scanning();
			}
			audio_datapath_start_sink();
		}
		break;

	case BAP_BC_SINK_CMD_TYPE_STOP_STREAMING:
		LOG_INF("stop streaming cmd complete, status %u, grp %u, stream %u",
				status, grp_lid, stream_pos);
		if (stream_pos >= 1 && stream_pos <= 32) {
			sink_env.started_streams_bf &= ~(1U << (stream_pos - 1));
		}
		k_sem_give(&stop_streams_sem);   /* <-- NEW: counts a finished BIS stop */
		break;

	case BAP_BC_SINK_CMD_TYPE_DISABLE:
		LOG_INF("disable cmd complete, status %u, grp %u", status, grp_lid);
		k_sem_give(&disable_done_sem);
		break;

	default:
		LOG_ERR("Unexpected cmd type %u", cmd_type);
		break;
	}
}


static void on_bap_bc_sink_quality_cmp_evt(uint16_t status, uint8_t grp_lid,
				uint8_t stream_pos,
				uint32_t crc_error_packets, uint32_t rx_unrx_packets,
				uint32_t duplicate_packets)
{
	LOG_INF("cb_sink_quality, status %u group %u stream %u crc_err %u missing %u duplicate %u",
		status, grp_lid, stream_pos, crc_error_packets, rx_unrx_packets, duplicate_packets);
}

static void on_bap_bc_sink_status(uint8_t grp_lid, uint8_t state, uint32_t stream_pos_bf,
					const gapi_bg_sync_config_t *p_bg_cfg, uint8_t nb_bis,
					const uint16_t *p_conhdl)
{
	switch (state) {
	case BAP_BC_SINK_ESTABLISHED:
		LOG_INF("sync established with group %u", grp_lid);
		terminate_pa_sync();
		start_streaming();
		break;
	case BAP_BC_SINK_FAILED:
	case BAP_BC_SINK_CANCELLED:
	case BAP_BC_SINK_LOST:
	case BAP_BC_SINK_PEER_TERMINATE:
	case BAP_BC_SINK_MIC_FAILURE:
		LOG_INF("no sync with group %u, state %u", grp_lid, state);
		audio_datapath_cleanup_sink();
		start_scanning();
		break;
	case BAP_BC_SINK_UPPER_TERMINATE:
		LOG_INF("no sync with group %u, state %u", grp_lid, state);
		audio_datapath_cleanup_sink();
		break;
	default:
		LOG_ERR("Unexpected bc_sink state %u", state);
		break;
	}
}

static const bap_bc_scan_cb_t scan_cbs = {
	.cb_cmp_evt = on_bap_bc_scan_cmp_evt,
	.cb_timeout = on_bap_bc_scan_timeout,
	.cb_report = on_bap_bc_scan_report,
	.cb_public_bcast_source = on_bap_bc_scan_public_bcast,
	.cb_pa_established = on_bap_bc_scan_pa_established,
	.cb_pa_terminated = on_bap_bc_scan_pa_terminated,
	.cb_pa_report = on_bap_bc_scan_pa_report,
	.cb_big_info_report = on_bap_bc_scan_big_info_report,
	.cb_group_report = on_bap_bc_scan_group_report,
	.cb_subgroup_report = on_bap_bc_scan_subgroup_report,
	.cb_stream_report = on_bap_bc_scan_stream_report,
};

static const bap_bc_sink_cb_t sink_cbs = {
	.cb_cmp_evt = on_bap_bc_sink_cmp_evt,
	.cb_quality_cmp_evt = on_bap_bc_sink_quality_cmp_evt,
	.cb_status = on_bap_bc_sink_status,
};

/* Track if BAP BC modules are already configured */
static bool bap_modules_configured;

int broadcast_sink_configure(void)
{
	uint16_t err;

	/* Only configure once */
	if (bap_modules_configured) {
		LOG_INF("BAP BC modules already configured");
		return 0;
	}

	err = bap_bc_scan_configure(BAP_ROLE_SUPP_BC_SINK_BIT | BAP_ROLE_SUPP_BC_SCAN_BIT,
					&scan_cbs);
	if (err != GAP_ERR_NO_ERROR) {
		LOG_ERR("Failed to configure bap_bc_scan, err %u", err);
		return -ENODEV;
	}

	err = bap_bc_sink_configure(BAP_ROLE_SUPP_BC_SINK_BIT | BAP_ROLE_SUPP_BC_SCAN_BIT,
					&sink_cbs);
	if (err != GAP_ERR_NO_ERROR) {
		LOG_ERR("Failed to configure bap_bc_sink, err %u", err);
		return -ENODEV;
	}

	bap_modules_configured = true;
	LOG_INF("BAP BC modules configured successfully");
	return 0;
}

int broadcast_sink_start(void)
{
	/* Configure modules if not already done */
	int ret = broadcast_sink_configure();

	if (ret != 0) {
		return ret;
	}

	return start_scanning();
}

int broadcast_sink_start_scanning(void)
{
	/* Only start scanning if modules are configured */
	if (!bap_modules_configured) {
		LOG_ERR("BAP BC modules not configured, call broadcast_sink_configure() first");
		return -ENODEV;
	}

	return start_scanning();
}

int broadcast_sink_stop(void)
{
	LOG_INF("Stopping broadcast sink");

	if (sink_env.grp_lid != INVALID_LID) {
		uint16_t err;

		/* Disable the broadcast sink group */
		err = bap_bc_sink_disable(sink_env.grp_lid);

		if (err != 0) {
			LOG_WRN("Failed to disable broadcast sink group after retries, err %u",
					err);
		} else {
			LOG_INF("Group disabled");
		}

		/* Only now mark grp_lid invalid */
		sink_env.grp_lid = INVALID_LID;
	}

	/* 3) Clean up audio datapath */
	audio_datapath_cleanup_sink();

	/* 4) Terminate PA if still synced */
	if (sink_env.pa_lid != INVALID_LID) {
		uint16_t err = bap_bc_scan_pa_terminate(sink_env.pa_lid);

		if (err) {
			LOG_DBG("PA terminate returned err %u (may already be terminated)", err);
		}
		sink_env.pa_lid = INVALID_LID;
	}

	uint16_t err = bap_bc_scan_stop();

	if (err) {
		LOG_INF("Scan stop returned err %u (expected if not scanning)", err);
	} else {
		LOG_INF("Scanning stopped");
	}

	/* 6) Reset local state */
	reset_sink_config();
	public_broadcast_found = false;

	LOG_INF("Broadcast sink stopped and reset");
	return 0;
}
```
